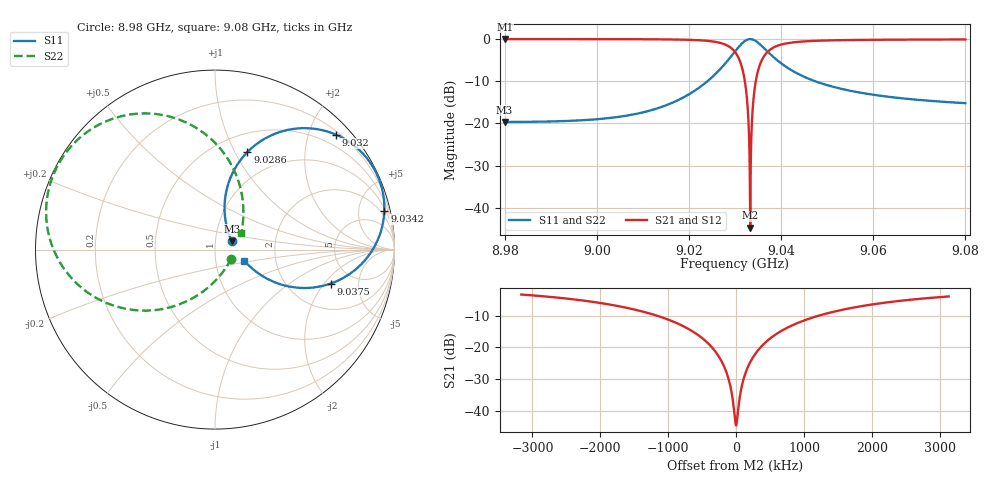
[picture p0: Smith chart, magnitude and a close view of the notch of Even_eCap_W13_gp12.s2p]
! Sonnet Data File
! From: emgraph Version : 16.52
! From Project: Resonator2_extremeCap
! Data is De-embedded
! Data File Written: 10/09/2017 23:02:46
!< HDATE 10/09/2017 15:24:44
!< MDATE 10/09/2017 17:18:05
!< PARAMS
!< Pwid1 = 2000.0
!< Pwid2 = 2000.0
!< Air_gap = 7.8
!< Width = 13.0
!< Gap = 12.0
!< END PARAMS
# GHZ S MA R 51.80000
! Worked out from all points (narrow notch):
!   1595 points, 8.98 GHz to 9.08 GHz, reference 51.8 ohm
!   highest |S21| = -0.05 dB at 8.9801 GHz (marker M1); lowest = -44.6 dB at 9.0333 GHz (marker M2)
!   notch at M2: 44.1 dB deep, 529 kHz wide at half that depth
!   lowest |S11| = -19.6 dB at 8.98 GHz (marker M3), VSWR 1.23, Z = 62.2 + j5.83 ohm
!   |S11| at or under -10 dB: start of sweep to 9.024031 GHz; 9.047364 GHz to end of sweep
!   |S22| runs from -19.7 to -0.1 dB; largest |S21 - S12| = 0
!   S11 on the Smith chart (normalised r, x): 8.98 GHz: 1.20, +0.11; 9.0286 GHz: 0.70, +1.12; 9.032 GHz: 0.26, +2.49; 9.0342 GHz: 1.27, +8.65; 9.0375 GHz: 3.39, -2.34; 9.08 GHz: 1.38, -0.17
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8.98  0.1041 26.4  0.9945 -91.1  0.9945 -91.1  0.1041 -28.7
!< P1 F=8.98 Eeff=(6.44663086 -2.972e-5) Z0=(52.9985279 1.22286e-4) R=0.0 C=0.0
!< P2 F=8.98 Eeff=(6.44663086 -2.972e-5) Z0=(52.9985279 1.22286e-4) R=0.0 C=0.0
8.9801  0.1042 26.5  0.9945 -91.1  0.9945 -91.1  0.1041 -28.7
8.9967  0.1091 40.5  0.994 -93.0  0.994 -93.0  0.109 -46.5
9.0134  0.1525 65.7  0.9881 -97.8  0.9881 -97.8  0.1522 -81.3
9.023578  0.3018 79.0  0.9527 -108.0  0.9527 -108.0  0.3013 -115.2
9.028634  0.5727 71.6  0.8173 -126.0  0.8173 -126.0  0.5718 -144.1
9.03  0.7092 63.8  0.7008 -136.4  0.7008 -136.4  0.7082 -157.3
9.031989  0.9305 43.5  0.3529 -159.8  0.3529 -159.8  0.9293 175.0
9.032591  0.975 35.2  0.1976 -168.4  0.1976 -168.4  0.9737 164.6
9.032947  0.9898 30.1  0.09906 -172.4  0.09906 -172.4  0.9885 158.2
9.033152  0.9938 27.1  0.04167 -171.1  0.04167 -171.1  0.9926 154.6
9.033299  0.9947 24.9  0.005867 -89.5  0.005867 -89.5  0.9935 151.9
9.033402  0.9943 23.4  0.02977 -14.6  0.02977 -14.6  0.9931 150.1
9.033529  0.9927 21.6  0.06491 -10.4  0.06491 -10.4  0.9915 147.8
9.0338  0.9852 17.8  0.1389 -11.9  0.1389 -11.9  0.984 143.0
9.034157  0.9678 12.9  0.2317 -16.4  0.2317 -16.4  0.9667 137.0
9.035314  0.8732 -0.6  0.4797 -31.0  0.4797 -31.0  0.8722 119.7
9.0375  0.6724 -16.3  0.7374 -49.7  0.7374 -49.7  0.6717 97.4
9.0409  0.4748 -26.0  0.8791 -63.9  0.8791 -63.9  0.4744 78.4
9.0467  0.3262 -29.2  0.9449 -73.6  0.9449 -73.6  0.326 62.1
9.0634  0.2065 -25.0  0.9784 -81.6  0.9784 -81.6  0.2065 41.8
9.08  0.1738 -20.6  0.9847 -84.1  0.9847 -84.1  0.1738 32.5
